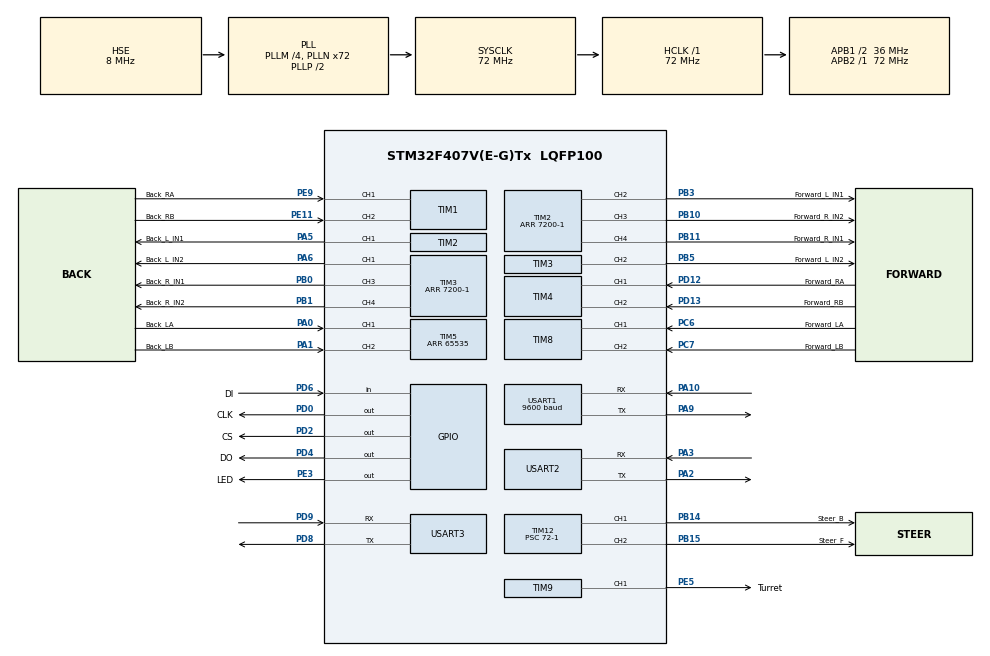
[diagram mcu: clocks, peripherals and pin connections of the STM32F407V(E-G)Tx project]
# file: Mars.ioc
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Dma.Request0=USART2_RX
Dma.Request1=USART2_TX
Dma.USART2_RX.0.Direction=DMA_PERIPH_TO_MEMORY
Dma.USART2_RX.0.FIFOMode=DMA_FIFOMODE_DISABLE
Dma.USART2_RX.0.Instance=DMA1_Stream5
Dma.USART2_RX.0.MemDataAlignment=DMA_MDATAALIGN_BYTE
Dma.USART2_RX.0.MemInc=DMA_MINC_ENABLE
Dma.USART2_RX.0.Mode=DMA_NORMAL
Dma.USART2_RX.0.PeriphDataAlignment=DMA_PDATAALIGN_BYTE
Dma.USART2_RX.0.PeriphInc=DMA_PINC_DISABLE
Dma.USART2_RX.0.Priority=DMA_PRIORITY_LOW
Dma.USART2_TX.1.Direction=DMA_MEMORY_TO_PERIPH
Dma.USART2_TX.1.FIFOMode=DMA_FIFOMODE_DISABLE
Dma.USART2_TX.1.Instance=DMA1_Stream6
Dma.USART2_TX.1.MemDataAlignment=DMA_MDATAALIGN_BYTE
Dma.USART2_TX.1.MemInc=DMA_MINC_ENABLE
Dma.USART2_TX.1.Mode=DMA_NORMAL
Dma.USART2_TX.1.PeriphDataAlignment=DMA_PDATAALIGN_BYTE
Dma.USART2_TX.1.PeriphInc=DMA_PINC_DISABLE
Dma.USART2_TX.1.Priority=DMA_PRIORITY_LOW
Mcu.Family=STM32F4
Mcu.Name=STM32F407V(E-G)Tx
Mcu.Package=LQFP100
NVIC.DMA1_Stream5_IRQn=true\:0\:0\:false\:false\:true\:false\:true\:true
NVIC.DMA1_Stream6_IRQn=true\:0\:0\:false\:false\:true\:false\:true\:true
NVIC.PriorityGroup=NVIC_PRIORITYGROUP_4
NVIC.TIM1_UP_TIM10_IRQn=true\:0\:0\:false\:false\:true\:true\:true\:true
NVIC.TIM4_IRQn=true\:0\:0\:false\:false\:true\:true\:true\:true
NVIC.TIM5_IRQn=true\:0\:0\:false\:false\:true\:true\:true\:true
NVIC.TIM6_DAC_IRQn=true\:1\:0\:true\:false\:true\:true\:true\:true
NVIC.TIM8_UP_TIM13_IRQn=true\:0\:0\:false\:false\:true\:true\:true\:true
NVIC.USART1_IRQn=true\:2\:0\:true\:false\:true\:true\:true\:true
NVIC.USART2_IRQn=true\:2\:0\:true\:false\:true\:true\:true\:true
NVIC.USART3_IRQn=true\:2\:0\:true\:false\:true\:true\:true\:true
NVIC.WWDG_IRQn=true\:0\:0\:false\:false\:true\:true\:true\:true
PA0-WKUP.GPIO_Label=Back_LA
PA0-WKUP.GPIO_PuPd=GPIO_PULLDOWN
PA0-WKUP.Signal=S_TIM5_CH1
PA1.GPIO_Label=Back_LB
PA1.GPIO_PuPd=GPIO_PULLDOWN
PA1.Signal=S_TIM5_CH2
PA10.Mode=Asynchronous
PA10.Signal=USART1_RX
PA13.Mode=Serial_Wire
PA13.Signal=SYS_JTMS-SWDIO
PA14.Mode=Serial_Wire
PA14.Signal=SYS_JTCK-SWCLK
PA2.Mode=Asynchronous
PA2.Signal=USART2_TX
PA3.Mode=Asynchronous
PA3.Signal=USART2_RX
PA5.GPIO_Label=Back_L_IN1
PA5.GPIO_PuPd=GPIO_PULLDOWN
PA5.Signal=S_TIM2_CH1_ETR
PA6.GPIO_Label=Back_L_IN2
PA6.GPIO_PuPd=GPIO_PULLDOWN
PA6.Signal=S_TIM3_CH1
PA9.Mode=Asynchronous
PA9.Signal=USART1_TX
PB0.GPIO_Label=Back_R_IN1
PB0.GPIO_PuPd=GPIO_PULLDOWN
PB0.Signal=S_TIM3_CH3
PB1.GPIO_Label=Back_R_IN2
PB1.GPIO_PuPd=GPIO_PULLDOWN
PB1.Signal=S_TIM3_CH4
PB10.GPIO_Label=Forward_R_IN2
PB10.GPIO_PuPd=GPIO_PULLUP
PB10.Signal=S_TIM2_CH3
PB11.GPIO_Label=Forward_R_IN1
PB11.GPIO_PuPd=GPIO_PULLUP
PB11.Signal=S_TIM2_CH4
PB14.GPIO_Label=Steer_B
PB14.Signal=S_TIM12_CH1
PB15.GPIO_Label=Steer_F
PB15.Signal=S_TIM12_CH2
PB3.GPIO_Label=Forward_L_IN1
PB3.GPIO_PuPd=GPIO_PULLUP
PB3.Signal=S_TIM2_CH2
PB5.GPIO_Label=Forward_L_IN2
PB5.GPIO_PuPd=GPIO_PULLUP
PB5.Signal=S_TIM3_CH2
PC6.GPIO_Label=Forward_LA
PC6.GPIO_PuPd=GPIO_PULLDOWN
PC6.Signal=S_TIM8_CH1
PC7.GPIO_Label=Forward_LB
PC7.GPIO_PuPd=GPIO_PULLDOWN
PC7.Signal=S_TIM8_CH2
PD0.GPIO_Label=CLK
PD0.Signal=GPIO_Output
PD12.GPIO_Label=Forward_RA
PD12.GPIO_PuPd=GPIO_PULLDOWN
PD12.Signal=S_TIM4_CH1
PD13.GPIO_Label=Forward_RB
PD13.GPIO_PuPd=GPIO_PULLDOWN
PD13.Signal=S_TIM4_CH2
PD2.GPIO_Label=CS
PD2.PinState=GPIO_PIN_SET
PD2.Signal=GPIO_Output
PD4.GPIO_Label=DO
PD4.Signal=GPIO_Output
PD6.GPIO_Label=DI
PD6.GPIO_PuPd=GPIO_PULLDOWN
PD6.Signal=GPIO_Input
PD8.Mode=Asynchronous
PD8.Signal=USART3_TX
PD9.Mode=Asynchronous
PD9.Signal=USART3_RX
PE11.GPIO_Label=Back_RB
PE11.GPIO_PuPd=GPIO_PULLDOWN
PE11.Signal=S_TIM1_CH2
PE3.GPIO_Label=LED
PE3.PinState=GPIO_PIN_SET
PE3.Signal=GPIO_Output
PE5.GPIO_Label=Turret
PE5.Signal=S_TIM9_CH1
PE9.GPIO_Label=Back_RA
PE9.GPIO_PuPd=GPIO_PULLDOWN
PE9.Signal=S_TIM1_CH1
PH0-OSC_IN.Mode=HSE-External-Oscillator
PH0-OSC_IN.Signal=RCC_OSC_IN
PH1-OSC_OUT.Mode=HSE-External-Oscillator
PH1-OSC_OUT.Signal=RCC_OSC_OUT
ProjectManager.HeapSize=0x200
ProjectManager.StackSize=0x400
ProjectManager.TargetToolchain=MDK-ARM V5.32
RCC.48MHZClocksFreq_Value=36000000
RCC.AHBFreq_Value=72000000
RCC.APB1CLKDivider=RCC_HCLK_DIV2
RCC.APB1Freq_Value=36000000
RCC.APB1TimFreq_Value=72000000
RCC.APB2Freq_Value=72000000
RCC.APB2TimFreq_Value=72000000
RCC.CortexFreq_Value=72000000
RCC.HCLKFreq_Value=72000000
RCC.HSE_VALUE=8000000
RCC.HSI_VALUE=16000000
RCC.LSE_VALUE=32768
RCC.PLLM=4
RCC.PLLN=72
RCC.PLLSourceVirtual=RCC_PLLSOURCE_HSE
RCC.SYSCLKFreq_VALUE=72000000
RCC.SYSCLKSource=RCC_SYSCLKSOURCE_PLLCLK
RCC.VCOOutputFreq_Value=144000000
SH.S_TIM12_CH1.0=TIM12_CH1,PWM Generation1 CH1
SH.S_TIM12_CH2.0=TIM12_CH2,PWM Generation2 CH2
SH.S_TIM1_CH1.0=TIM1_CH1,Encoder_Interface
SH.S_TIM1_CH2.0=TIM1_CH2,Encoder_Interface
SH.S_TIM2_CH1_ETR.0=TIM2_CH1,PWM Generation1 CH1
SH.S_TIM2_CH2.0=TIM2_CH2,PWM Generation2 CH2
SH.S_TIM2_CH3.0=TIM2_CH3,PWM Generation3 CH3
SH.S_TIM2_CH4.0=TIM2_CH4,PWM Generation4 CH4
SH.S_TIM3_CH1.0=TIM3_CH1,PWM Generation1 CH1
SH.S_TIM3_CH2.0=TIM3_CH2,PWM Generation2 CH2
SH.S_TIM3_CH3.0=TIM3_CH3,PWM Generation3 CH3
SH.S_TIM3_CH4.0=TIM3_CH4,PWM Generation4 CH4
SH.S_TIM4_CH1.0=TIM4_CH1,Encoder_Interface
SH.S_TIM4_CH2.0=TIM4_CH2,Encoder_Interface
SH.S_TIM5_CH1.0=TIM5_CH1,Encoder_Interface
SH.S_TIM5_CH2.0=TIM5_CH2,Encoder_Interface
SH.S_TIM8_CH1.0=TIM8_CH1,Encoder_Interface
SH.S_TIM8_CH2.0=TIM8_CH2,Encoder_Interface
SH.S_TIM9_CH1.0=TIM9_CH1,PWM Generation1 CH1
TIM1.AutoReloadPreload=TIM_AUTORELOAD_PRELOAD_ENABLE
TIM1.EncoderMode=TIM_ENCODERMODE_TI12
TIM12.AutoReloadPreload=TIM_AUTORELOAD_PRELOAD_ENABLE
TIM12.Channel-PWM\ Generation1\ CH1=TIM_CHANNEL_1
TIM12.Channel-PWM\ Generation2\ CH2=TIM_CHANNEL_2
TIM12.Period=20000-1
TIM12.Prescaler=72-1
TIM2.AutoReloadPreload=TIM_AUTORELOAD_PRELOAD_ENABLE
TIM2.Channel-PWM\ Generation1\ CH1=TIM_CHANNEL_1
TIM2.Channel-PWM\ Generation2\ CH2=TIM_CHANNEL_2
TIM2.Channel-PWM\ Generation3\ CH3=TIM_CHANNEL_3
TIM2.Channel-PWM\ Generation4\ CH4=TIM_CHANNEL_4
TIM2.Period=7200-1
TIM3.AutoReloadPreload=TIM_AUTORELOAD_PRELOAD_ENABLE
TIM3.Channel-PWM\ Generation1\ CH1=TIM_CHANNEL_1
TIM3.Channel-PWM\ Generation2\ CH2=TIM_CHANNEL_2
TIM3.Channel-PWM\ Generation3\ CH3=TIM_CHANNEL_3
TIM3.Channel-PWM\ Generation4\ CH4=TIM_CHANNEL_4
TIM3.Period=7200-1
TIM4.AutoReloadPreload=TIM_AUTORELOAD_PRELOAD_ENABLE
TIM4.EncoderMode=TIM_ENCODERMODE_TI12
TIM5.AutoReloadPreload=TIM_AUTORELOAD_PRELOAD_ENABLE
TIM5.EncoderMode=TIM_ENCODERMODE_TI12
TIM5.Period=65535
TIM6.AutoReloadPreload=TIM_AUTORELOAD_PRELOAD_ENABLE
TIM6.Period=1000
TIM6.Prescaler=720
TIM8.AutoReloadPreload=TIM_AUTORELOAD_PRELOAD_ENABLE
TIM8.EncoderMode=TIM_ENCODERMODE_TI12
TIM9.AutoReloadPreload=TIM_AUTORELOAD_PRELOAD_ENABLE
TIM9.Channel-PWM\ Generation1\ CH1=TIM_CHANNEL_1
TIM9.Period=20000-1
TIM9.Prescaler=72-1
USART1.BaudRate=9600
USART1.VirtualMode=VM_ASYNC
USART2.VirtualMode=VM_ASYNC
USART3.VirtualMode=VM_ASYNC
VP_TIM6_VS_ClockSourceINT.Mode=Enable_Timer
VP_WWDG_VS_WWDG.Mode=WWDG_Activate
WWDG.Counter=127
WWDG.EWIMode=WWDG_EWI_ENABLE
WWDG.Prescaler=WWDG_PRESCALER_8
WWDG.Window=95
board=custom

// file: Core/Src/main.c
/* USER CODE BEGIN Header */
/**
  ******************************************************************************
  * @file           : main.c
  * @brief          : Main program body
  ******************************************************************************
  * @attention
  *
  * Copyright (c) 2022 STMicroelectronics.
  * All rights reserved.
  *
  * This software is licensed under terms that can be found in the LICENSE file
  * in the root directory of this software component.
  * If no LICENSE file comes with this software, it is provided AS-IS.
  *
  ******************************************************************************
  */
/* USER CODE END Header */
#include "main.h"
#include "dma.h"
#include "tim.h"
#include "usart.h"
#include "wwdg.h"
#include "gpio.h"

/* USER CODE BEGIN Includes */
#include "pid.h"
#include "ps2.h"
#include "delay.h"
#include "motor.h"

#include "steer.h"
#include "vision.h"
#include "control.h"
#include "communication.h"

/* USER CODE END Includes */

/* USER CODE BEGIN PV */
int control_mode=0;
int ps2_mode=0;
/* USER CODE END PV */

void SystemClock_Config(void);

/* USER CODE BEGIN 0 */
#ifdef debug
void show_motor(MOTOR_TypeDef *motor){
	printf("\r\n***\r\n");
	if(motor==&Forward_L)printf("FL\r\n");
	if(motor==&Forward_R)printf("FR\r\n");
	if(motor==&Back_L)printf("BL\r\n");
	if(motor==&Back_R)printf("BR\r\n");
/**/
//	DataScope(motor->actual_angle,motor->target_angle);
//	DataScope(motor->actual_speed,motor->target_speed);

	printf("actual speed: %f\r\n",motor->actual_speed);
	printf("target speed: %f\r\n",motor->target_speed);

//	printf("err: %f\r\n",(float)(motor->capture_count-motor->last_count)/(beipin*xianshu*jiansubi*0.01));
/*
	printf("kp: %f\r\n",motor->k_speed.p);
	printf("ki: %f\r\n",motor->k_speed.i);
	printf("kd: %f\r\n",motor->k_speed.d);
	printf("integral: %f\r\n",motor->k_speed.integral);
	printf("err_last: %f\r\n",motor->k_speed.err_last);
	printf("err_last1: %f\r\n",motor->k_speed.err_last1);
	printf("err_last2: %f\r\n",motor->k_speed.err_last2);
	printf("Motor fi: %f\r\n",motor->k_speed.fi);
*/
	printf("capture_count: %d\r\n",motor->capture_count);
	printf("last_count: %d\r\n",motor->last_count);
	printf("pwm: %d\r\n",motor->pwm);
/*	printf("motor encoder_overflow: %d\r\n",motor->encoder_overflow);

	printf("kp: %f\r\n",motor->k_angle.p);
//	printf("ki: %f\r\n",motor->k_angle.i);
//	printf("kd: %f\r\n",motor->k_angle.d);
//	printf("integral: %f\r\n",motor->k_angle.integral);
//	printf("err_last: %f\r\n",motor->k_angle.err_last);
//	printf("target angle: %f\r\n",motor->target_angle);
//	printf("actual angle: %f\r\n",motor->actual_angle);
//	printf("fp: %f\r\n",motor->k_angle.fp);
*/
}
#endif

/* USER CODE END 0 */

int main(void)
{

  /* MCU Configuration--------------------------------------------------------*/

  /* Reset of all peripherals, Initializes the Flash interface and the Systick. */
  HAL_Init();

  /* Configure the system clock */
  SystemClock_Config();

  /* USER CODE BEGIN SysInit */
	delay_init(72);
  /* USER CODE END SysInit */

  /* Initialize all configured peripherals */
  MX_GPIO_Init();
  MX_TIM1_Init();
  MX_TIM2_Init();
  MX_TIM4_Init();
  MX_TIM5_Init();
  MX_TIM6_Init();
  MX_TIM8_Init();
  MX_TIM9_Init();
  MX_TIM12_Init();
  MX_USART1_UART_Init();
  MX_WWDG_Init();
  MX_USART2_UART_Init();
  MX_DMA_Init();
  MX_USART3_UART_Init();
  MX_TIM3_Init();
  /* USER CODE BEGIN 2 */

	steer_init();

	HAL_UART_Receive_IT(&huart1,(uint8_t *)&receiver1,1);
	HAL_UART_Receive_IT(&huart2,(uint8_t *)&receiver2,1);
//	HAL_UART_Receive_IT(&huart3,(uint8_t *)&receiver3,1);

//	HAL_UART_Receive_IT(&huart2,rx2_buffer,10);
//	__HAL_UART_ENABLE_IT(&huart2, UART_IT_IDLE);
//	HAL_UART_Receive_DMA(&huart2,rx2_buffer,BUFFERSIZE);//打开DMA接收

	control_mode = 0;
	ps2_mode = 0;
	MOTOR_Init();
	MOTOR_Tim_Init(&Forward_L);
	MOTOR_Tim_Init(&Forward_R);
	MOTOR_Tim_Init(&Back_L);
	MOTOR_Tim_Init(&Back_R);

	printf("READY\r\n");

  /* USER CODE END 2 */

  /* Infinite loop */
  while (1)
  {

    /* USER CODE BEGIN 3 */
#ifdef debug
	  show_motor(&Forward_L);
	  show_motor(&Forward_R);
	  show_motor(&Back_L);
	  show_motor(&Back_R);
#endif
	//  set_steer_pwm(&Steer_f);
	 // set_steer_pwm(&Steer_b);
//	  set_steer_pwm(&Turret);
	  steer_turn_slow(&Turret);
/*
//	  printf("turret angle %f\r\n",Turret.angle);
//	  delay_ms(1000);
//	  show_motor(&Forward_L);
//	  show_motor(&Forward_R);
//	  show_motor(&Back_L);
//	  show_motor(&Back_R);
*/

	  if(ps2_mode){	//ps2手柄控制模式
		 delay_ms(10);

		 ps2_control(PS2_DataKey());

//		 if(control_mode)ps2_angle();
//		 else ps2_speed();
	  }
	}
  /* USER CODE END 3 */
}

void SystemClock_Config(void)
{
  RCC_OscInitTypeDef RCC_OscInitStruct = {0};
  RCC_ClkInitTypeDef RCC_ClkInitStruct = {0};

  /** Configure the main internal regulator output voltage
  */
  __HAL_RCC_PWR_CLK_ENABLE();
  __HAL_PWR_VOLTAGESCALING_CONFIG(PWR_REGULATOR_VOLTAGE_SCALE1);

  /** Initializes the RCC Oscillators according to the specified parameters
  * in the RCC_OscInitTypeDef structure.
  */
  RCC_OscInitStruct.OscillatorType = RCC_OSCILLATORTYPE_HSE;
  RCC_OscInitStruct.HSEState = RCC_HSE_ON;
  RCC_OscInitStruct.PLL.PLLState = RCC_PLL_ON;
  RCC_OscInitStruct.PLL.PLLSource = RCC_PLLSOURCE_HSE;
  RCC_OscInitStruct.PLL.PLLM = 4;
  RCC_OscInitStruct.PLL.PLLN = 72;
  RCC_OscInitStruct.PLL.PLLP = RCC_PLLP_DIV2;
  RCC_OscInitStruct.PLL.PLLQ = 4;
  if (HAL_RCC_OscConfig(&RCC_OscInitStruct) != HAL_OK)
  {
    Error_Handler();
  }

  /** Initializes the CPU, AHB and APB buses clocks
  */
  RCC_ClkInitStruct.ClockType = RCC_CLOCKTYPE_HCLK|RCC_CLOCKTYPE_SYSCLK
                              |RCC_CLOCKTYPE_PCLK1|RCC_CLOCKTYPE_PCLK2;
  RCC_ClkInitStruct.SYSCLKSource = RCC_SYSCLKSOURCE_PLLCLK;
  RCC_ClkInitStruct.AHBCLKDivider = RCC_SYSCLK_DIV1;
  RCC_ClkInitStruct.APB1CLKDivider = RCC_HCLK_DIV2;
  RCC_ClkInitStruct.APB2CLKDivider = RCC_HCLK_DIV1;

  if (HAL_RCC_ClockConfig(&RCC_ClkInitStruct, FLASH_LATENCY_2) != HAL_OK)
  {
    Error_Handler();
  }
}

/* USER CODE BEGIN 4 */

/*三个串口通信

串口一: 核心控制与调试

串口二：与树莓派通信

串口三：与炮台主控芯片（stm32f411ceu6）通信

*/

void HAL_UART_RxCpltCallback(UART_HandleTypeDef *huart){
	if(huart ->Instance == USART1){		//串口1
		bluetooth_control(receiver1);	//非ps2控制下用手机蓝牙控制小车

		HAL_UART_Receive_IT(&huart1,(uint8_t *)&receiver1,1);
	}

	if(huart ->Instance == USART2){	//串口二，与树莓派通信

/*		uint32_t tmp_flag = 0;
		uint32_t temp;
		if(__HAL_UART_GET_FLAG(&huart2,UART_FLAG_IDLE)!=RESET){
			__HAL_UART_CLEAR_IDLEFLAG(&huart2);//清除标志位
			HAL_UART_DMAStop(&huart2); //  停止DMA传输
			temp  =  __HAL_DMA_GET_COUNTER(&hdma_usart2_rx);// 获取DMA中未传输的数据个数
			rx2_len =  BUFFERSIZE - temp; //总计数减去未传输的数据个数，得到已经接收的数据个数

			HAL_UART_Transmit(&huart1,rx2_buffer,rx2_len,0xff);
//			memset(rx2_buffer,0,BUFFERSIZE);
		}
		HAL_UART_Receive_DMA(&huart2,rx2_buffer,BUFFERSIZE);//重新打开DMA接收
*/

		vision_control(receiver2);

		HAL_UART_Receive_IT(&huart2,(uint8_t *)&receiver2,1);
	}

	if(huart ->Instance == USART3){
//		printf("receiver3! %c",receiver3);
//		HAL_UART_Transmit(&huart1,(u8 *)&receiver3,1,1);
		HAL_UART_Receive_IT(&huart3,(uint8_t *)&receiver3,1);
	}
}

void HAL_TIM_PeriodElapsedCallback(TIM_HandleTypeDef *htim){	//计数溢出更新中断
	if(htim==(&htim8)){
		if(__HAL_TIM_IS_TIM_COUNTING_DOWN(htim))
			Forward_L.encoder_overflow--;			//反转过程中溢出
		else
			Forward_L.encoder_overflow++;			//正转过程中溢出
	}
	if(htim==(&htim4)){
		if(__HAL_TIM_IS_TIM_COUNTING_DOWN(htim))
			Forward_R.encoder_overflow--;		//反转过程中溢出
		else
			Forward_R.encoder_overflow++;		//正转过程中溢出
	}
	if(htim==(&htim5)){
		if(__HAL_TIM_IS_TIM_COUNTING_DOWN(htim))
			Back_L.encoder_overflow--;			//反转过程中溢出
		else
			Back_L.encoder_overflow++;			//正转过程中溢出
	}
	if(htim==(&htim1)){
		if(__HAL_TIM_IS_TIM_COUNTING_DOWN(htim))
			Back_R.encoder_overflow--;			//反转过程中溢出
		else
			Back_R.encoder_overflow++;			//正转过程中溢出
	}

	if(htim==(&htim6)){
		if(control_mode==1){ 							//control_mode=1 角度;control_mode=0 速度
			feedback_angle(&Forward_L);
			feedback_angle(&Forward_R);
			feedback_angle(&Back_L);
			feedback_angle(&Back_R);
		}else{
			feedback_speed(&Forward_L);
			feedback_speed(&Forward_R);
			feedback_speed(&Back_L);
			feedback_speed(&Back_R);
		}
	}
}

void HAL_WWDG_EarlyWakeupCallback(WWDG_HandleTypeDef *hwwdg){
	HAL_WWDG_Refresh(hwwdg);      //喂窗口看门狗
}

/* USER CODE END 4 */

void Error_Handler(void)
{
  __disable_irq();
  while (1)
  {
  }
}
